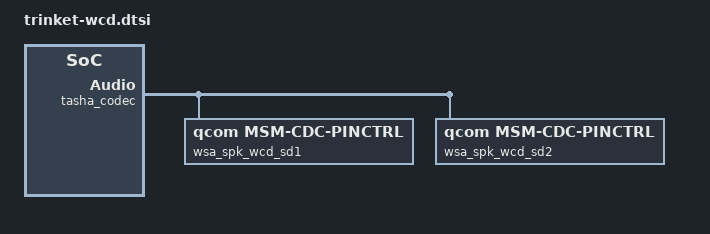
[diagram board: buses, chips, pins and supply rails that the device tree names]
/* Copyright (c) 2019, The Linux Foundation. All rights reserved.
 *
 * This program is free software; you can redistribute it and/or modify
 * it under the terms of the GNU General Public License version 2 and
 * only version 2 as published by the Free Software Foundation.
 *
 * This program is distributed in the hope that it will be useful,
 * but WITHOUT ANY WARRANTY; without even the implied warranty of
 * MERCHANTABILITY or FITNESS FOR A PARTICULAR PURPOSE.  See the
 * GNU General Public License for more details.
 */

&slim_aud {
	tasha_codec {
		wsa_spk_wcd_sd1: msm_cdc_pinctrll {
			compatible = "qcom,msm-cdc-pinctrl";
			pinctrl-names = "aud_active", "aud_sleep";
			pinctrl-0 = <&tasha_spkr_1_sd_n_active>;
			pinctrl-1 = <&tasha_spkr_1_sd_n_sleep>;
		};

		wsa_spk_wcd_sd2: msm_cdc_pinctrlr {
			compatible = "qcom,msm-cdc-pinctrl";
			pinctrl-names = "aud_active", "aud_sleep";
			pinctrl-0 = <&tasha_spkr_2_sd_n_active>;
			pinctrl-1 = <&tasha_spkr_2_sd_n_sleep>;
		};
	};
};
